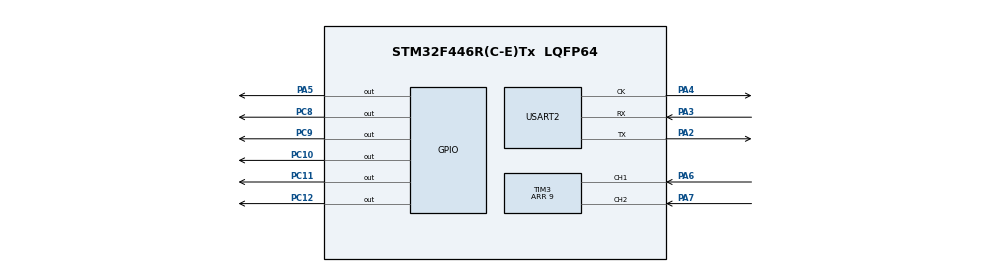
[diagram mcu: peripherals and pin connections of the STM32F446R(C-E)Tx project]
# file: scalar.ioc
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Mcu.Family=STM32F4
Mcu.Name=STM32F446R(C-E)Tx
Mcu.Package=LQFP64
NVIC.PriorityGroup=NVIC_PRIORITYGROUP_4
PA13.Mode=Serial_Wire
PA13.Signal=SYS_JTMS-SWDIO
PA14.Mode=Serial_Wire
PA14.Signal=SYS_JTCK-SWCLK
PA2.Mode=Synchronous
PA2.Signal=USART2_TX
PA3.Mode=Synchronous
PA3.Signal=USART2_RX
PA4.Mode=Synchronous
PA4.Signal=USART2_CK
PA5.Signal=GPIO_Output
PA6.Signal=S_TIM3_CH1
PA7.Signal=S_TIM3_CH2
PC10.GPIO_ModeDefaultOutputPP=GPIO_MODE_OUTPUT_OD
PC10.GPIO_PuPd=GPIO_NOPULL
PC10.Signal=GPIO_Output
PC11.GPIO_ModeDefaultOutputPP=GPIO_MODE_OUTPUT_OD
PC11.GPIO_PuPd=GPIO_NOPULL
PC11.Signal=GPIO_Output
PC12.GPIO_ModeDefaultOutputPP=GPIO_MODE_OUTPUT_OD
PC12.GPIO_PuPd=GPIO_NOPULL
PC12.Signal=GPIO_Output
PC8.GPIO_ModeDefaultOutputPP=GPIO_MODE_OUTPUT_OD
PC8.GPIO_PuPd=GPIO_NOPULL
PC8.Signal=GPIO_Output
PC9.GPIO_ModeDefaultOutputPP=GPIO_MODE_OUTPUT_OD
PC9.GPIO_PuPd=GPIO_NOPULL
PC9.Signal=GPIO_Output
ProjectManager.HeapSize=0x200
ProjectManager.StackSize=0x400
ProjectManager.TargetToolchain=STM32CubeIDE
RCC.CortexFreq_Value=16000000
RCC.USBFreq_Value=96000000
RCC.VCOOutputFreq_Value=192000000
SH.S_TIM3_CH1.0=TIM3_CH1,Encoder_Interface
SH.S_TIM3_CH2.0=TIM3_CH2,Encoder_Interface
TIM3.Period=9
USART2.VirtualMode=VM_SYNC
board=custom

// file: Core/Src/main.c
/* USER CODE BEGIN Header */
/**
  ******************************************************************************
  * @file           : main.c
  * @brief          : Main program body
  ******************************************************************************
  * @attention
  *
  * Copyright (c) 2025 STMicroelectronics.
  * All rights reserved.
  *
  * This software is licensed under terms that can be found in the LICENSE file
  * in the root directory of this software component.
  * If no LICENSE file comes with this software, it is provided AS-IS.
  *
  ******************************************************************************
  */
/* USER CODE END Header */
#include "main.h"

/* USER CODE BEGIN PD */
#define M_4_PUL			GPIO_PIN_10
#define M_4_DIR			GPIO_PIN_11
#define MOTOR_GPIO_PORT	GPIOC

/* USER CODE END PD */

TIM_HandleTypeDef htim3;

USART_HandleTypeDef husart2;

void SystemClock_Config(void);
static void MX_GPIO_Init(void);
static void MX_TIM3_Init(void);
static void MX_USART2_Init(void);

/* USER CODE BEGIN 0 */
void stepPulse(GPIO_TypeDef *port, uint16_t pin, uint16_t us_delay)
{
    HAL_GPIO_WritePin(port, pin, GPIO_PIN_RESET);
    HAL_Delay(us_delay);
    HAL_GPIO_WritePin(port, pin, GPIO_PIN_SET);
    HAL_Delay(us_delay);
}
/* USER CODE END 0 */

int main(void)
{

  /* MCU Configuration--------------------------------------------------------*/

  /* Reset of all peripherals, Initializes the Flash interface and the Systick. */
  HAL_Init();

  /* Configure the system clock */
  SystemClock_Config();

  /* Initialize all configured peripherals */
  MX_GPIO_Init();
  MX_TIM3_Init();
  MX_USART2_Init();
  /* USER CODE BEGIN 2 */
  HAL_GPIO_WritePin(MOTOR_GPIO_PORT, M_4_DIR, GPIO_PIN_RESET); // DIR
  for(int i = 0; i < 1000; i++) // 모터 한번 돌림
      {
          HAL_GPIO_WritePin(MOTOR_GPIO_PORT, M_4_PUL, GPIO_PIN_RESET);
          HAL_Delay(1); // 1ms
          HAL_GPIO_WritePin(MOTOR_GPIO_PORT, M_4_PUL, GPIO_PIN_SET);
          HAL_Delay(1);
      }
   HAL_Delay(1000);
  /* USER CODE END 2 */

  /* Infinite loop */
  while (1)
  {

  }
}

void SystemClock_Config(void)
{
  RCC_OscInitTypeDef RCC_OscInitStruct = {0};
  RCC_ClkInitTypeDef RCC_ClkInitStruct = {0};

  /** Configure the main internal regulator output voltage
  */
  __HAL_RCC_PWR_CLK_ENABLE();
  __HAL_PWR_VOLTAGESCALING_CONFIG(PWR_REGULATOR_VOLTAGE_SCALE3);

  /** Initializes the RCC Oscillators according to the specified parameters
  * in the RCC_OscInitTypeDef structure.
  */
  RCC_OscInitStruct.OscillatorType = RCC_OSCILLATORTYPE_HSI;
  RCC_OscInitStruct.HSIState = RCC_HSI_ON;
  RCC_OscInitStruct.HSICalibrationValue = RCC_HSICALIBRATION_DEFAULT;
  RCC_OscInitStruct.PLL.PLLState = RCC_PLL_NONE;
  if (HAL_RCC_OscConfig(&RCC_OscInitStruct) != HAL_OK)
  {
    Error_Handler();
  }

  /** Initializes the CPU, AHB and APB buses clocks
  */
  RCC_ClkInitStruct.ClockType = RCC_CLOCKTYPE_HCLK|RCC_CLOCKTYPE_SYSCLK
                              |RCC_CLOCKTYPE_PCLK1|RCC_CLOCKTYPE_PCLK2;
  RCC_ClkInitStruct.SYSCLKSource = RCC_SYSCLKSOURCE_HSI;
  RCC_ClkInitStruct.AHBCLKDivider = RCC_SYSCLK_DIV1;
  RCC_ClkInitStruct.APB1CLKDivider = RCC_HCLK_DIV1;
  RCC_ClkInitStruct.APB2CLKDivider = RCC_HCLK_DIV1;

  if (HAL_RCC_ClockConfig(&RCC_ClkInitStruct, FLASH_LATENCY_0) != HAL_OK)
  {
    Error_Handler();
  }
}

static void MX_TIM3_Init(void)
{

  TIM_Encoder_InitTypeDef sConfig = {0};
  TIM_MasterConfigTypeDef sMasterConfig = {0};

  htim3.Instance = TIM3;
  htim3.Init.Prescaler = 0;
  htim3.Init.CounterMode = TIM_COUNTERMODE_UP;
  htim3.Init.Period = 9;
  htim3.Init.ClockDivision = TIM_CLOCKDIVISION_DIV1;
  htim3.Init.AutoReloadPreload = TIM_AUTORELOAD_PRELOAD_DISABLE;
  sConfig.EncoderMode = TIM_ENCODERMODE_TI1;
  sConfig.IC1Polarity = TIM_ICPOLARITY_RISING;
  sConfig.IC1Selection = TIM_ICSELECTION_DIRECTTI;
  sConfig.IC1Prescaler = TIM_ICPSC_DIV1;
  sConfig.IC1Filter = 0;
  sConfig.IC2Polarity = TIM_ICPOLARITY_RISING;
  sConfig.IC2Selection = TIM_ICSELECTION_DIRECTTI;
  sConfig.IC2Prescaler = TIM_ICPSC_DIV1;
  sConfig.IC2Filter = 0;
  if (HAL_TIM_Encoder_Init(&htim3, &sConfig) != HAL_OK)
  {
    Error_Handler();
  }
  sMasterConfig.MasterOutputTrigger = TIM_TRGO_RESET;
  sMasterConfig.MasterSlaveMode = TIM_MASTERSLAVEMODE_DISABLE;
  if (HAL_TIMEx_MasterConfigSynchronization(&htim3, &sMasterConfig) != HAL_OK)
  {
    Error_Handler();
  }

}

static void MX_USART2_Init(void)
{

  husart2.Instance = USART2;
  husart2.Init.BaudRate = 115200;
  husart2.Init.WordLength = USART_WORDLENGTH_8B;
  husart2.Init.StopBits = USART_STOPBITS_1;
  husart2.Init.Parity = USART_PARITY_NONE;
  husart2.Init.Mode = USART_MODE_TX_RX;
  husart2.Init.CLKPolarity = USART_POLARITY_LOW;
  husart2.Init.CLKPhase = USART_PHASE_1EDGE;
  husart2.Init.CLKLastBit = USART_LASTBIT_DISABLE;
  if (HAL_USART_Init(&husart2) != HAL_OK)
  {
    Error_Handler();
  }

}

static void MX_GPIO_Init(void)
{
  GPIO_InitTypeDef GPIO_InitStruct = {0};

  /* GPIO Ports Clock Enable */
  __HAL_RCC_GPIOA_CLK_ENABLE();
  __HAL_RCC_GPIOC_CLK_ENABLE();

  /*Configure GPIO pin Output Level */
  HAL_GPIO_WritePin(GPIOA, GPIO_PIN_5, GPIO_PIN_RESET);

  /*Configure GPIO pin Output Level */
  HAL_GPIO_WritePin(GPIOC, GPIO_PIN_8|GPIO_PIN_9|GPIO_PIN_10|GPIO_PIN_11
                          |GPIO_PIN_12, GPIO_PIN_RESET);

  /*Configure GPIO pin : PA5 */
  GPIO_InitStruct.Pin = GPIO_PIN_5;
  GPIO_InitStruct.Mode = GPIO_MODE_OUTPUT_PP;
  GPIO_InitStruct.Pull = GPIO_NOPULL;
  GPIO_InitStruct.Speed = GPIO_SPEED_FREQ_LOW;
  HAL_GPIO_Init(GPIOA, &GPIO_InitStruct);

  /*Configure GPIO pins : PC8 PC9 PC10 PC11
                           PC12 */
  GPIO_InitStruct.Pin = GPIO_PIN_8|GPIO_PIN_9|GPIO_PIN_10|GPIO_PIN_11
                          |GPIO_PIN_12;
  GPIO_InitStruct.Mode = GPIO_MODE_OUTPUT_OD;
  GPIO_InitStruct.Pull = GPIO_NOPULL;
  GPIO_InitStruct.Speed = GPIO_SPEED_FREQ_LOW;
  HAL_GPIO_Init(GPIOC, &GPIO_InitStruct);

}

void Error_Handler(void)
{
  __disable_irq();
  while (1)
  {
  }
}
